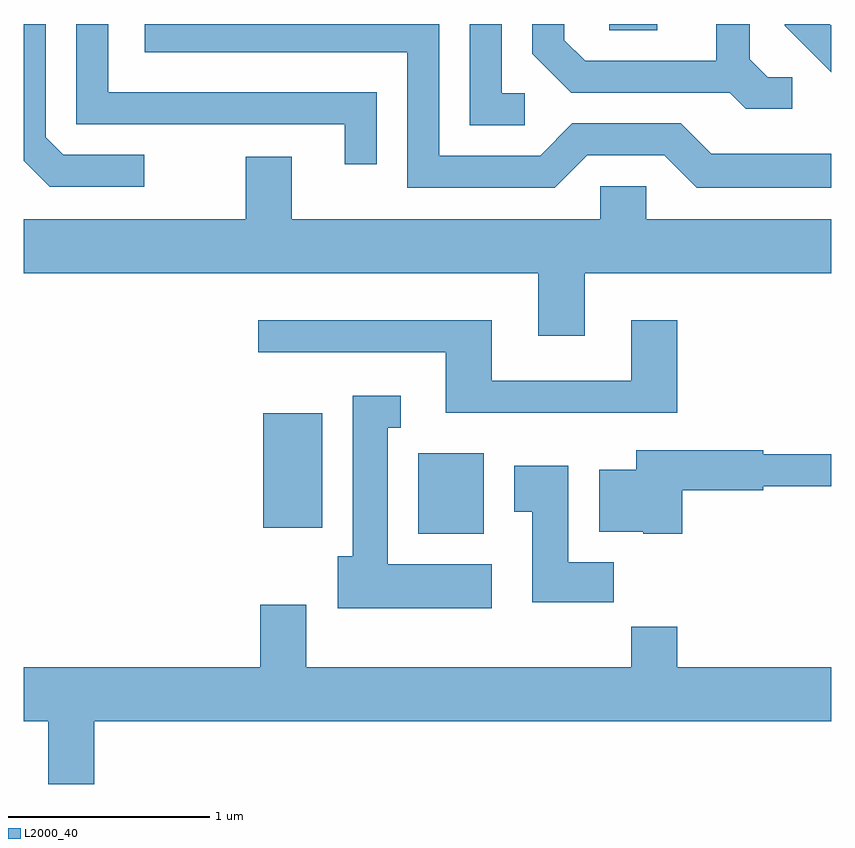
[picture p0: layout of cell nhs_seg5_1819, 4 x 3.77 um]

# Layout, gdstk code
import gdstk
lib = gdstk.Library(unit=1e-6, precision=1e-09)
def R(c, l, rs):  # rectangles x0, y0, x1, y1
    for r in rs: c.add(gdstk.rectangle(r[:2], r[2:], *l))
def P(c, l, *ps):  # polygons
    for p in ps: c.add(gdstk.Polygon(p, *l))
L2000_40 = (2000, 40)

nhs_seg5_1819 = lib.new_cell('nhs_seg5_1819')
R(nhs_seg5_1819, L2000_40, [(241.566,1415.546,241.889,1415.944), (240.796,1415.576,241.089,1416.144), (242.511,1418.041,242.749,1418.072)])
P(nhs_seg5_1819, L2000_40, [(243.418,1417.809),(243.297,1417.809),(243.209,1417.897),(243.209,1418.072),(243.041,1418.072),(243.041,1417.889),(242.392,1417.889),(242.289,1417.992),(242.289,1418.072),(242.131,1418.072),(242.131,1417.924),(242.324,1417.731),(243.109,1417.731),(243.189,1417.651),(243.418,1417.651)],
  [(240.208,1417.424),(239.807,1417.424),(239.719,1417.512),(239.719,1418.072),(239.611,1418.072),(239.611,1417.394),(239.739,1417.266),(240.208,1417.266)],
  [(242.402,1417.421),(242.784,1417.421),(242.944,1417.261),(243.611,1417.261),(243.611,1417.429),(243.017,1417.429),(242.867,1417.579),(242.329,1417.579),(242.169,1417.419),(241.669,1417.419),(241.669,1418.072),(240.211,1418.072),(240.211,1417.931),(241.511,1417.931),(241.511,1417.261),(242.242,1417.261)],
  [(243.611,1418.065),(243.604,1418.072),(243.381,1418.072),(243.381,1418.064),(243.611,1417.834)],
  [(241.359,1417.734),(240.029,1417.734),(240.029,1418.072),(239.871,1418.072),(239.871,1417.576),(241.201,1417.576),(241.201,1417.378),(241.359,1417.378)],
  [(242.093,1417.729),(241.979,1417.729),(241.979,1418.072),(241.821,1418.072),(241.821,1417.571),(242.093,1417.571)],
  [(242.389,1416.836),(243.611,1416.836),(243.611,1417.104),(242.694,1417.104),(242.694,1417.269),(242.466,1417.269),(242.466,1417.104),(240.939,1417.104),(240.939,1417.414),(240.711,1417.414),(240.711,1417.104),(239.611,1417.104),(239.611,1416.836),(242.161,1416.836),(242.161,1416.526),(242.389,1416.526)],
  [(242.849,1416.604),(242.621,1416.604),(242.621,1416.304),(241.929,1416.304),(241.929,1416.604),(240.773,1416.604),(240.773,1416.446),(241.701,1416.446),(241.701,1416.146),(242.849,1416.146)],
  [(241.929,1415.394),(241.414,1415.394),(241.414,1416.071),(241.478,1416.071),(241.478,1416.229),(241.241,1416.229),(241.241,1415.434),(241.166,1415.434),(241.166,1415.176),(241.929,1415.176)],
  [(242.874,1415.761),(243.274,1415.761),(243.274,1415.781),(243.611,1415.781),(243.611,1415.939),(243.274,1415.939),(243.274,1415.959),(242.646,1415.959),(242.646,1415.864),(242.461,1415.864),(242.461,1415.556),(242.68,1415.556),(242.68,1415.546),(242.874,1415.546)],
  [(242.534,1415.404),(242.309,1415.404),(242.309,1415.884),(242.041,1415.884),(242.041,1415.656),(242.131,1415.656),(242.131,1415.206),(242.534,1415.206)],
  [(239.959,1414.616),(243.611,1414.616),(243.611,1414.884),(242.849,1414.884),(242.849,1415.084),(242.621,1415.084),(242.621,1414.884),(241.009,1414.884),(241.009,1415.194),(240.781,1415.194),(240.781,1414.884),(239.611,1414.884),(239.611,1414.616),(239.731,1414.616),(239.731,1414.306),(239.959,1414.306)])

lib.write_gds('nhs_seg5_1819.gds')
